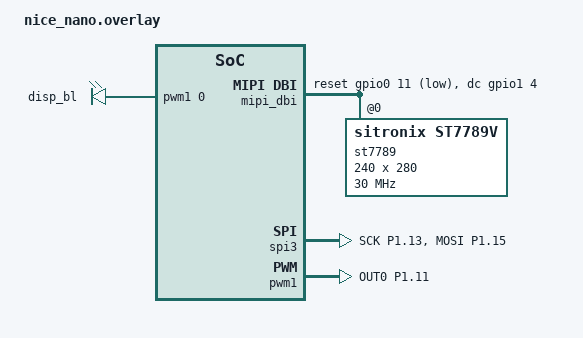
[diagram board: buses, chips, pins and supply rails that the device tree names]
/*
 * eyelash_nano pin mapping for the Prospector ST7789 display.
 *
 * Build with prospector_adapter listed before eyelash_sofle_prospector_dongle
 * so this overlay can drop the adapter's CST816S touch panel.
 *
 * Signal  eyelash_nano
 * SDA     P1.15 (D18)
 * SCL     P1.13 (D15)
 * CS      P1.06 (D9)
 * DC      P1.04 (D8)
 * RES     P0.11 (D7)
 * BLK     P1.11 (D14)
 */

#include <zephyr/dt-bindings/gpio/gpio.h>
#include <zephyr/dt-bindings/pwm/pwm.h>

/delete-node/ &touch_sensor;

&i2c0 {
    status = "disabled";
};

/ {
    pwmleds {
        compatible = "pwm-leds";
        disp_bl: pwm_led_1 {
            pwms = <&pwm1 0 PWM_MSEC(1) PWM_POLARITY_NORMAL>;
        };
    };
};

&pinctrl {
    spi3_default: spi3_default {
        group1 {
            psels = <NRF_PSEL(SPIM_SCK, 1, 13)>,
                    <NRF_PSEL(SPIM_MOSI, 1, 15)>;
        };
    };

    spi3_sleep: spi3_sleep {
        group1 {
            psels = <NRF_PSEL(SPIM_SCK, 1, 13)>,
                    <NRF_PSEL(SPIM_MOSI, 1, 15)>;
            low-power-enable;
        };
    };

    pwm1_default: pwm1_default {
        group1 {
            psels = <NRF_PSEL(PWM_OUT0, 1, 11)>;
            nordic,invert;
        };
    };

    pwm1_sleep: pwm1_sleep {
        group1 {
            psels = <NRF_PSEL(PWM_OUT0, 1, 11)>;
            low-power-enable;
        };
    };
};

disp_spi: &spi3 {
    status = "okay";
    pinctrl-0 = <&spi3_default>;
    pinctrl-1 = <&spi3_sleep>;
    pinctrl-names = "default", "sleep";
    cs-gpios = <&gpio1 6 GPIO_ACTIVE_LOW>;
};

/ {
    mipi_dbi {
        compatible = "zephyr,mipi-dbi-spi";
        spi-dev = <&spi3>;
        dc-gpios = <&gpio1 4 GPIO_ACTIVE_HIGH>;
        reset-gpios = <&gpio0 11 GPIO_ACTIVE_LOW>;
        write-only;
        #address-cells = <1>;
        #size-cells = <0>;

        st7789: st7789v@0 {
            compatible = "sitronix,st7789v";
            mipi-max-frequency = <30000000>;
            mipi-mode = "MIPI_DBI_MODE_SPI_4WIRE";
            reg = <0>;
            width = <240>;
            height = <280>;
            x-offset = <0>;
            y-offset = <20>;
            vcom = <0x19>;
            gctrl = <0x35>;
            vrhs = <0x12>;
            vdvs = <0x20>;
            mdac = <0x00>;
            gamma = <0x01>;
            colmod = <0x05>;
            lcm = <0x2c>;
            porch-param = [0c 0c 00 33 33];
            cmd2en-param = [5a 69 02 01];
            pwctrl1-param = [a4 a1];
            pvgam-param = [d0 04 0d 11 13 2b 3f 54 4c 18 0d 0b 1f 23];
            nvgam-param = [d0 04 0c 11 13 2c 3f 44 51 2f 1f 1f 20 23];
            ram-param = [00 f0];
            rgb-param = [cd 08 14];
        };
    };
};

&pwm1 {
    status = "okay";
    pinctrl-0 = <&pwm1_default>;
    pinctrl-1 = <&pwm1_sleep>;
    pinctrl-names = "default", "sleep";
};
